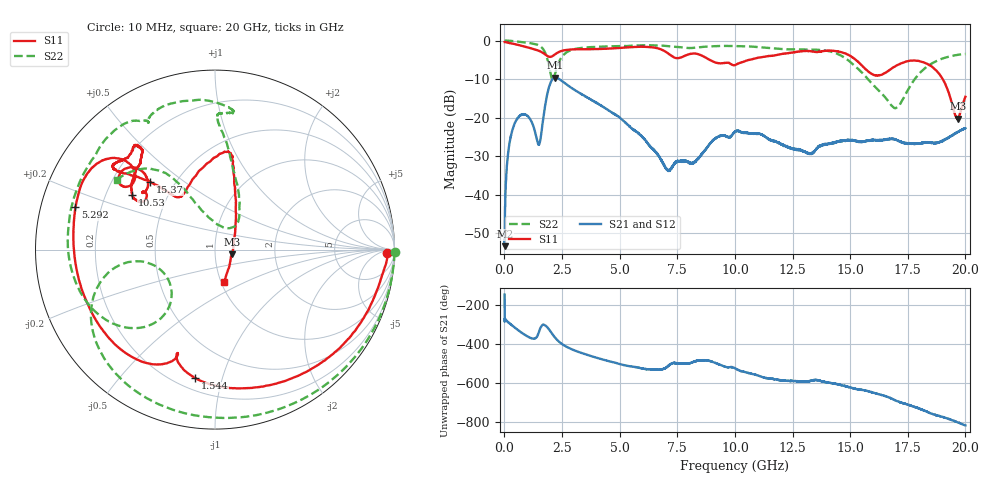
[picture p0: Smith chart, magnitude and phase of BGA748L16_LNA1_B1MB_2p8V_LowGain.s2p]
! S-Parameter file
! MATLAB S2P writer
! (c) DICE Linz
! Infineon Technologies
! Date: 08.04.2010 12:37
!BGA748L16_final_HB
!2.80V; 0.00V;
!25.00 deg
# MHZ S MA R 50
!  S11  S21  S12  S22
!  f  mag  angle  mag  angle  mag  angle  mag  angle
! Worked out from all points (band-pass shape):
!   4001 points, 10 MHz to 20 GHz, reference 50 ohm
!   highest |S21| = -9.64 dB at 2.214 GHz (marker M1); lowest = -53.4 dB at 15 MHz (marker M2)
!   |S21| within 3 dB of the highest: 1.912 GHz to 2.994 GHz (1.082 GHz wide, 44.1 % of centre)
!   lowest |S11| = -20.3 dB at 19.67 GHz (marker M3), VSWR 1.21, Z = 60.1 - j3.15 ohm
!   |S11| at or under -10 dB: 19.01 GHz to end of sweep
!   |S22| runs from -17.6 to 0.0 dB; largest |S21 - S12| = 0.0045
!   S11 on the Smith chart (normalised r, x): 10 MHz: 40, -17; 1.544 GHz: 0.27, -0.82; 5.292 GHz: 0.11, +0.15; 10.53 GHz: 0.31, +0.27; 15.37 GHz: 0.37, +0.38; 20 GHz: 1.04, -0.38
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10  0.9586 -1.0  0.002562 -144.6  0.002238 79.4  1.002 -0.9
14.9975  0.962 -1.6  0.002135 75.2  0.002863 99.7  1 -1.6
174.9175  0.9315 -13.3  0.0371 71.6  0.03709 72.0  0.9939 -17.6
469.77  0.8955 -33.4  0.0869 43.7  0.08704 43.7  0.9761 -46.3
989.51  0.8169 -67.1  0.1058 1.1  0.1061 0.8  0.9329 -93.0
1544.233  0.7243 -98.8  0.04887 38.1  0.04848 37.7  0.8475 -140.2
1914.047  0.6185 -110.1  0.2342 39.8  0.2353 39.6  0.4982 -171.7
2213.898  0.6669 -111.2  0.3295 -8.2  0.3289 -8.2  0.3829 -130.2
2593.707  0.7465 -123.5  0.284 -46.4  0.284 -46.4  0.6637 -139.3
3343.332  0.7711 -145.7  0.2012 -85.1  0.2019 -85.1  0.8018 -169.1
5292.358  0.8125 163.1  0.08384 -150.0  0.08353 -150.2  0.848 142.4
6676.665  0.789 140.2  0.03261 -171.0  0.03249 -170.8  0.8639 125.7
8170.917  0.6776 141.2  0.02534 -132.3  0.02525 -132.2  0.8017 117.6
10005  0.4808 145.8  0.06512 -164.0  0.06542 -163.9  0.8472 103.3
10534.74  0.552 146.7  0.06297 173.2  0.06318 173.4  0.8398 96.6
13338.33  0.7235 129.4  0.03445 133.2  0.03429 133.2  0.7606 87.2
15367.32  0.5213 133.7  0.04874 86.7  0.04877 87.2  0.4228 74.6
16671.67  0.4074 108.2  0.05271 46.8  0.05228 46.8  0.1602 51.5
17071.47  0.4832 95.1  0.05035 25.8  0.05017 25.7  0.1376 81.1
18495.75  0.468 77.1  0.04767 -35.5  0.04694 -35.8  0.4928 122.2
19670.17  0.09634 -15.6  0.06504 -82.0  0.06487 -82.1  0.6515 139.8
20000  0.186 -74.0  0.07262 -97.8  0.07273 -97.8  0.6689 144.5
